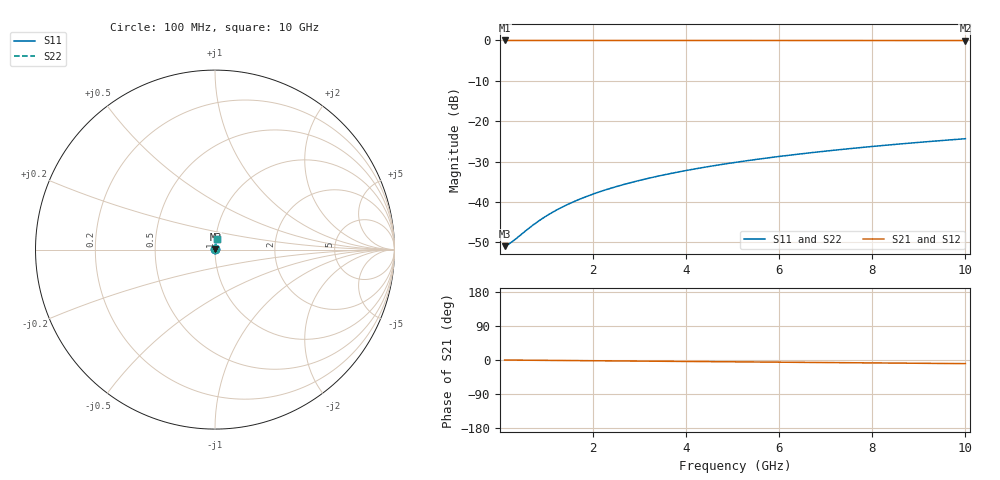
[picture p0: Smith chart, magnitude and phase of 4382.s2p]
# Hz S RI R 50.00
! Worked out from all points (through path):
!   100 points, 100 MHz to 10 GHz, reference 50 ohm
!   highest |S21| = -0.02 dB at 100 MHz (marker M1); lowest = 0.0 dB at 10 GHz (marker M2)
!   group delay of S21, straight-line fit = 2.66 ps
!   lowest |S11| = -51.0 dB at 100 MHz (marker M3), VSWR 1.01, Z = 50.3 + j0.0607 ohm
!   |S11| at or under -10 dB: start of sweep to end of sweep
!   |S22| runs from -51.0 to -24.4 dB; largest |S21 - S12| = 0
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1e8  0.00277 0.000604  0.9972 -0.00167  0.9972 -0.00167  0.00277 0.000604
2e8  0.00279 0.00121  0.9972 -0.00333  0.9972 -0.00333  0.00279 0.00121
3e8  0.00281 0.00181  0.9972 -0.005  0.9972 -0.005  0.00281 0.00181
7e8  0.00288 0.00422  0.9971 -0.0117  0.9971 -0.0117  0.00288 0.00422
8e8  0.0029 0.00483  0.9971 -0.0133  0.9971 -0.0133  0.0029 0.00483
1e9  0.00295 0.00603  0.997 -0.0167  0.997 -0.0167  0.00295 0.00603
1.2e9  0.003 0.00724  0.9969 -0.02  0.9969 -0.02  0.003 0.00724
1.4e9  0.00307 0.00844  0.9968 -0.0233  0.9968 -0.0233  0.00307 0.00844
1.6e9  0.00313 0.00965  0.9967 -0.0266  0.9967 -0.0266  0.00313 0.00965
1.8e9  0.00321 0.0109  0.9966 -0.03  0.9966 -0.03  0.00321 0.0109
2.1e9  0.00334 0.0127  0.9964 -0.035  0.9964 -0.035  0.00334 0.0127
2.5e9  0.00354 0.0151  0.9961 -0.0416  0.9961 -0.0416  0.00354 0.0151
2.9e9  0.00377 0.0175  0.9957 -0.0483  0.9957 -0.0483  0.00377 0.0175
3.4e9  0.0041 0.0205  0.9952 -0.0566  0.9952 -0.0566  0.0041 0.0205
3.8e9  0.0044 0.0229  0.9947 -0.0632  0.9947 -0.0632  0.0044 0.0229
4.2e9  0.00473 0.0252  0.9942 -0.0699  0.9942 -0.0699  0.00473 0.0252
5.1e9  0.00559 0.0306  0.9929 -0.0848  0.9929 -0.0848  0.00559 0.0306
5.9e9  0.00649 0.0353  0.9915 -0.0981  0.9915 -0.0981  0.00649 0.0353
6.7e9  0.00752 0.0401  0.9899 -0.1113  0.9899 -0.1113  0.00752 0.0401
7.5e9  0.00867 0.0447  0.9881 -0.1245  0.9881 -0.1245  0.00867 0.0447
8.4e9  0.0101 0.05  0.9858 -0.1393  0.9858 -0.1393  0.0101 0.05
1e10  0.0131 0.0591  0.9811 -0.1655  0.9811 -0.1655  0.0131 0.0591
